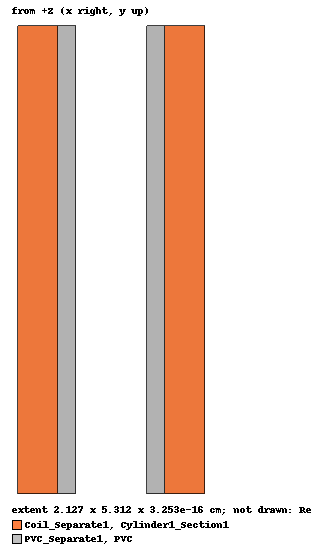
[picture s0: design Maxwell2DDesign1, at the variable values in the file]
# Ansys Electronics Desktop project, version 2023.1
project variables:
  $r_wire = 0.00025meter
  $r_coil_ext = 0.010635meter
  $r_coil_int = 0.006035meter
  $N = 750
  $copper_lenght = 41.33meter
  $h_coil = 0.05312meter
  $coil_current = 3.5A
  $coil_voltage = 13V
  $r_pvc = 0.00404meter
  $l_bar = 0.096meter
  $r_bar = 0.003045
  $coil_resistance = 3.65ohm
  $bar_mass = $l_bar*$r_bar^2*pi
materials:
  vacuum: permittivity=1
  copper: permeability=0.999991 conductivity=10000000000000
  PVC plastic: permittivity=2.7 dielectric_loss_tangent=0.007
  air: permittivity=1.0006 permeability=1.0000004
  steel_stainless: conductivity=1100000
  Cast iron, EN GJL 100: permeability{HUnit=A_per_meter BUnit=tesla curve (0, 0) (587.829, 0.1) (950.686, 0.2) (1313.54, 0.3) (1785.78, 0.4) (2539.27, 0.5) (3405.34, 0.6) (4758.27, 0.7) (6546.86, 0.8) (9406.73, 0.9) (12834.4, 1) (16836.6, 1.1) (24093.7, 1.2) (31350.9, 1.3) (42519.6, 1.4) (59106.1, 1.5) (79828.6, 1.6) (116114, 1.7) (152400, 1.8)} conductivity=1205510
  Al-Extruded

design Maxwell2DDesign1 (Maxwell 2D, Magnetostatic, XY geometry, model units cm)
options: ModelDepth=1meter
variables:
  posicion = 0mm
  velocidad = 0.001m_per_sec
  T_total = 0.5s
  Steps = 50
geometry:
  Coil#15 = cylinder(axis=Z, base_centre=(0cm, 0cm, 0cm), radius=$r_coil_ext, height=$h_coil)
  Cylinder2 = cylinder(axis=Z, base_centre=(0cm, 0cm, 0cm), radius=$r_coil_int, height=$h_coil)
  Coil#15.subtract(Cylinder2)
  PVC#37 = cylinder(axis=Z, base_centre=(0cm, 0cm, 0cm), radius=$r_coil_int, height=$h_coil)
  Cylinder4 = cylinder(axis=Z, base_centre=(0cm, 0cm, 0cm), radius=$r_pvc, height=$h_coil)
  PVC#37.subtract(Cylinder4)
  Region [air] = region(percentage_offset=100 on all sides)
  Cylinder1_Section1 [copper] = Coil#15.section(plane=YZ)
  Cylinder1_Section1.separate_bodies()
  Coil#119 = Coil#15.section(plane=YZ)
  Coil#15.delete()
  Coil#119.rotate(axis=Y, angle=90deg)
  Coil#119.rotate(axis=Z, angle=90deg)
  PVC [PVC plastic] = PVC#37.section(plane=YZ)
  PVC#37.delete()
  PVC.rotate(axis=Y, angle=90deg)
  PVC.rotate(axis=Z, angle=90deg)
  Cylinder1_Section1.rotate(axis=Y, angle=90deg)
  Cylinder1_Section1.rotate(axis=Z, angle=90deg)
  Cylinder1_Section1.separate_bodies()
  PVC_Separate1 [PVC plastic] = PVC.separate_bodies()
  Coil_Separate1 [copper] = Coil#119.separate_bodies()
  Coil#119.delete()
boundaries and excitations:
  Balloon1: Balloon Edges=Region.edge(all 4)
  Coil_Separate1: Coil Objects=Coil_Separate1 Conductor_number=$N Winding=Winding1 PolarityType=Positive
  Cylinder1_Section1: Coil Objects=Cylinder1_Section1 Conductor_number=$N Winding=Winding1 PolarityType=Negative
  Winding1: Winding Group Type=Current IsSolid=false Current=$coil_current ParallelBranchesNum=1
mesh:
  Length2: LengthBased RefineInside Objects=[Cylinder1_Section1, Coil_Separate1] NumMaxElem=50000
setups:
  Setup1: Magnetostatic MaximumPasses=10 MinimumPasses=2 MinimumConvergedPasses=1 PercentRefinement=30 PercentError=1 ConstantDelta=0s NonLinearResidual=0.0001
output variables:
  Pmec = Moving1.Force_y*Moving1.Speed
  Pin = Current(Winding1)*InputVoltage(Winding1)
  I_ini = YAtXMax(Current(Winding1))
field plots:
  Mesh1: MeshPlots over Cylinder1_Section1, Coil_Separate1 on Setup1 : LastAdaptive
  H_Vector1: H over Cylinder1_Section1.face(at (-0.8335, 2.656, 0)) Coil_Separate1.face on Setup1 : LastAdaptive

design PFG2D_ckt (Maxwell Circuit)
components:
  Winding_2 = Winding(Name=Winding1)
  IPulse_40 = IPulse(I2=$coil_current Period=10 Pw=0.05 Tr=0 Tf=0 I1=0)
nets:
  0: Winding_2.1, IPulse_40.0
  net_1: Winding_2.0, IPulse_40.1
